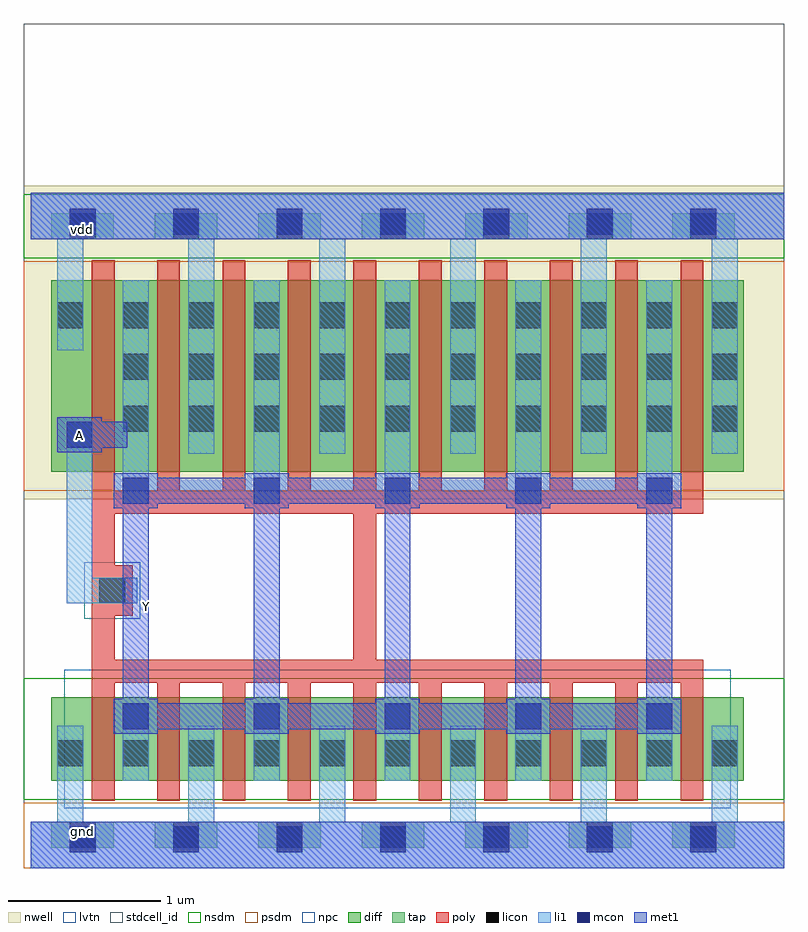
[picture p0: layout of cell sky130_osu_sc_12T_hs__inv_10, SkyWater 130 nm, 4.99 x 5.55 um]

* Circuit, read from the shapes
.subckt sky130_osu_sc_12T_hs__inv_10 A Y gnd vdd
XM1 Y A gnd gnd sky130_fd_pr__nfet_01v8_lvt w=0.55 l=0.15 m=10
XM2 Y A vdd vdd sky130_fd_pr__pfet_01v8 w=1.26 l=0.15 m=10
.ends

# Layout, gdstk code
import gdstk
lib = gdstk.Library(unit=1e-6, precision=1e-09)
def R(c, l, rs):  # rectangles x0, y0, x1, y1
    for r in rs: c.add(gdstk.rectangle(r[:2], r[2:], *l))
def A(c, l, x, y, w, h, nx, ny, dx, dy):  # array of equal rectangles
    R(c, l, [(x+i*dx, y+j*dy, x+i*dx+w, y+j*dy+h) for i in range(nx) for j in range(ny)])
nwell = (64, 20)
diff = (65, 20)
tap = (65, 44)
poly = (66, 20)
licon = (66, 44)
li1 = (67, 20)
mcon = (67, 44)
met1 = (68, 20)
stdcell_id = (81, 4)
nsdm = (93, 44)
psdm = (94, 20)
npc = (95, 20)
lvtn = (125, 44)

sky130_osu_sc_12t_hs__in = lib.new_cell('sky130_osu_sc_12T_hs__inv_10')
R(sky130_osu_sc_12t_hs__in, nwell, [(-0.045,2.425,4.95,4.485)])
R(sky130_osu_sc_12t_hs__in, diff, [(0.135,0.575,4.685,1.125), (0.135,2.605,4.685,3.865)])
A(sky130_osu_sc_12t_hs__in, tap, 0.135, 0.135, 0.41, 0.17, 7, 2, 0.68, 4)
A(sky130_osu_sc_12t_hs__in, poly, 0.4, 0.445, 0.15, 0.775, 10, 1, 0.43, 0)
A(sky130_osu_sc_12t_hs__in, poly, 0.4, 2.48, 0.15, 1.515, 10, 1, 0.43, 0)
R(sky130_osu_sc_12t_hs__in, poly, [(0.4,1.22,4.42,1.37), (0.4,1.37,0.55,1.66), (2.12,1.37,2.27,2.33), (0.4,1.66,0.67,1.99), (0.4,1.99,0.55,2.33), (0.4,2.33,4.42,2.48)])
A(sky130_osu_sc_12t_hs__in, licon, 0.255, 0.135, 0.17, 0.17, 7, 2, 0.68, 4)
A(sky130_osu_sc_12t_hs__in, licon, 0.175, 0.67, 0.17, 0.17, 11, 2, 0.43, 2.88)
A(sky130_osu_sc_12t_hs__in, licon, 0.605, 2.87, 0.17, 0.17, 10, 2, 0.43, 0.34)
R(sky130_osu_sc_12t_hs__in, licon, [(0.45,1.74,0.62,1.91)])
A(sky130_osu_sc_12t_hs__in, li1, 0.175, 0.305, 0.17, 0.63, 6, 1, 0.86, 0)
A(sky130_osu_sc_12t_hs__in, li1, 0.605, 0.575, 0.17, 0.51, 5, 1, 0.86, 0)
A(sky130_osu_sc_12t_hs__in, li1, 0.605, 2.395, 0.17, 1.47, 5, 1, 0.86, 0)
A(sky130_osu_sc_12t_hs__in, li1, 1.035, 2.725, 0.17, 1.41, 5, 1, 0.86, 0)
R(sky130_osu_sc_12t_hs__in, li1, [(0,0,4.95,0.305), (0.235,1.74,0.7,1.91), (0.235,1.91,0.405,2.935), (0.175,3.405,0.345,4.135), (0,4.135,4.95,4.44)])
A(sky130_osu_sc_12t_hs__in, mcon, 0.255, 0.105, 0.17, 0.17, 7, 2, 0.68, 4.06)
A(sky130_osu_sc_12t_hs__in, mcon, 0.605, 0.915, 0.17, 0.17, 5, 2, 0.86, 1.48)
R(sky130_osu_sc_12t_hs__in, mcon, [(0.235,2.765,0.405,2.935)])
A(sky130_osu_sc_12t_hs__in, met1, 0.545, 0.885, 0.29, 0.03, 5, 2, 0.86, 0.2)
A(sky130_osu_sc_12t_hs__in, met1, 0.605, 1.115, 0.17, 1.25, 5, 1, 0.86, 0)
A(sky130_osu_sc_12t_hs__in, met1, 0.545, 2.365, 0.29, 0.03, 5, 2, 0.86, 0.2)
R(sky130_osu_sc_12t_hs__in, met1, [(0,0,4.95,0.305), (0.545,0.915,4.275,1.085), (0.545,2.395,4.275,2.565), (0.175,2.735,0.465,2.765), (0.175,2.765,0.635,2.935), (0.175,2.935,0.465,2.965), (0,4.135,4.95,4.44)])
R(sky130_osu_sc_12t_hs__in, stdcell_id, [(-0.045,0,4.95,5.55)])
R(sky130_osu_sc_12t_hs__in, nsdm, [(-0.045,0.45,4.95,1.25), (-0.045,4.01,4.95,4.43)])
R(sky130_osu_sc_12t_hs__in, psdm, [(-0.045,0,4.95,0.43), (-0.045,2.48,4.95,3.99)])
R(sky130_osu_sc_12t_hs__in, npc, [(0.35,1.64,0.72,2.01)])
R(sky130_osu_sc_12t_hs__in, lvtn, [(0.22,0.395,4.6,1.305)])
sky130_osu_sc_12t_hs__in.add(gdstk.Label('gnd', (0.34,0.24), layer=68, texttype=16))
sky130_osu_sc_12t_hs__in.add(gdstk.Label('vdd', (0.34,4.2), layer=68, texttype=16))
sky130_osu_sc_12t_hs__in.add(gdstk.Label('Y', (0.76,1.72), layer=68, texttype=5))
sky130_osu_sc_12t_hs__in.add(gdstk.Label('A', (0.32,2.845), layer=68, texttype=5))

lib.write_gds('sky130_osu_sc_12T_hs__inv_10.gds')
